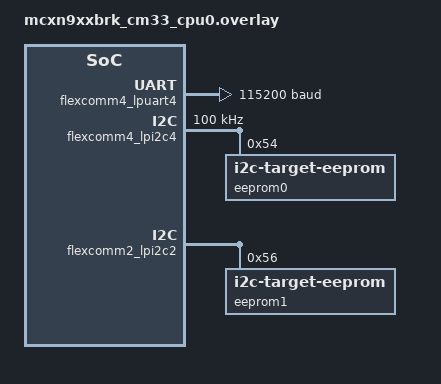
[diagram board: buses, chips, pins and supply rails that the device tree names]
/*
 * Copyright 2023 NXP
 *
 * SPDX-License-Identifier: Apache-2.0
 */

&pinctrl {
	pinmux_flexcomm4_lpi2c: pinmux_flexcomm4_lpi2c {
		group0 {
			pinmux = <FC4_P0_PIO1_20>,
				<FC4_P1_PIO1_21>;
			slew-rate = "fast";
			drive-strength = "low";
			input-enable;
			bias-pull-up;
			drive-open-drain;
		};
	};

	pinmux_flexcomm4_lpuart_concurrent: pinmux_flexcomm4_lpuart_concurrent {
		group0 {
			pinmux = <FC4_P2_PIO1_10>,
				<FC4_P3_PIO1_11>;
			slew-rate = "fast";
			drive-strength = "low";
			input-enable;
		};
	};
};

&flexcomm4_lpuart4 {
	status = "okay";
	current-speed = <115200>;
	pinctrl-0 = <&pinmux_flexcomm4_lpuart_concurrent>;
	pinctrl-names = "default";
};

/* To test this sample, connect
 * LPI2C4 SCL(J2-33)     -->         LPI2C2 SCL(J1-45)
 * LPI2C4 SDA(J2-37)     -->         LPI2C2 SDA(J1-46)
 */
&flexcomm4_lpi2c4 {
	pinctrl-0 = <&pinmux_flexcomm4_lpi2c>;
	pinctrl-names = "default";
	clock-frequency = <I2C_BITRATE_STANDARD>;
	status = "okay";
	eeprom0: eeprom@54 {
		compatible = "zephyr,i2c-target-eeprom";
		reg = <0x54>;
		size = <1024>;
	};
};

&flexcomm2_lpi2c2 {
	status = "okay";
	eeprom1: eeprom@56 {
		compatible = "zephyr,i2c-target-eeprom";
		reg = <0x56>;
		size = <1024>;
	};
};
